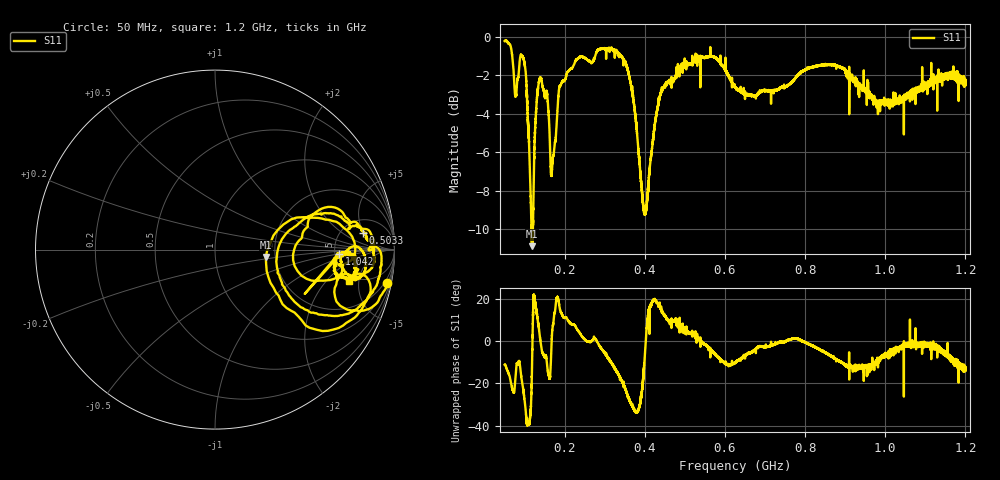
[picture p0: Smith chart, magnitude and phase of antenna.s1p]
! Calibrated NanoVNA antenna measurement, band-limited to the calibrated dynamic range
! Samples with nonfinite or |Gamma| >= 1 were excluded; see broadband-excluded.json
# Hz S RI R 50
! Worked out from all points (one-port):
!   40000 points, 50 MHz to 1.2 GHz, reference 50 ohm
!   lowest |S11| = -10.9 dB at 118.8 MHz (marker M1), VSWR 1.80, Z = 89 - j8.07 ohm
!   |S11| at or under -10 dB: 117.1 MHz to 120.5 MHz (3.388 MHz wide, 2.85 % of centre); 120.6194 MHz to 120.6431 MHz (23.65 kHz wide, 0.0196 % of centre)
!   S11 on the Smith chart (normalised r, x): 50 MHz: 1, -10; 503.3 MHz: 7.88, +4.82; 1.042 GHz: 5.45, -0.46; 1.2 GHz: 4.23, -3.56
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5e7  0.9556 -0.1875
6.93775e7  0.8121 -0.3423
7.67375e7  0.6674 -0.2189
8.427e7  0.7725 -0.1451
9.38725e7  0.8366 -0.2957
1.041938e8  0.6167 -0.4501
1.106912e8  0.4183 -0.3376
1.1877e8  0.2828 -0.0416
1.267338e8  0.565 0.1759
1.373425e8  0.7758 0.0448
1.59135e8  0.622 -0.1715
1.686225e8  0.4552 0.0343
1.815888e8  0.5935 0.2283
1.9375e8  0.7455 0.1643
2.871012e8  0.9267 -0.0373
3.375e8  0.8575 -0.2625
3.72345e8  0.5719 -0.3593
3.983925e8  0.3426 -0.0674
4.257912e8  0.5672 0.1985
4.8125e8  0.8 0.1283
5.0333e8  0.826 0.0945
5.7049e8  0.8845 -0.0794
6.25e8  0.7301 -0.13
7.6875e8  0.7648 0.0158
9.125e8  0.7689 -0.1642
1.041846e9  0.6917 -0.0221
1.05625e9  0.7067 -0.0168
1.2e9  0.7385 -0.1779
